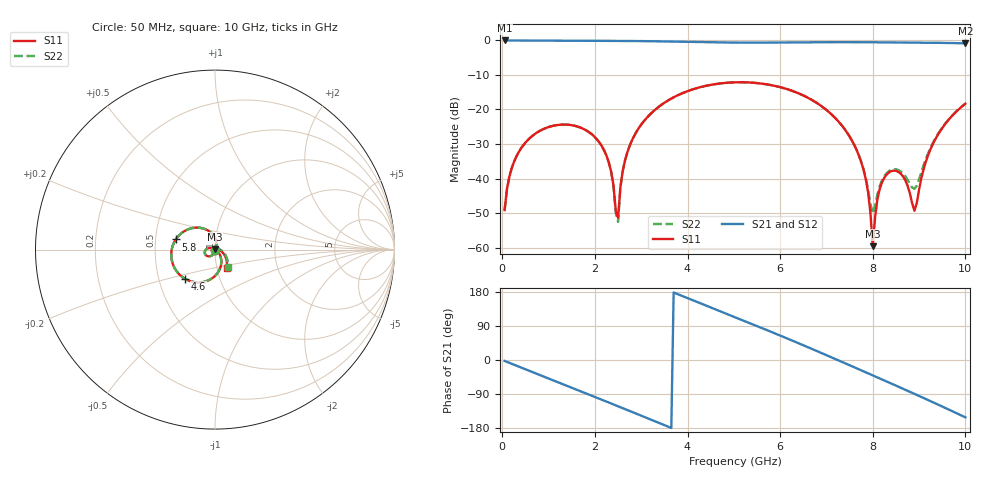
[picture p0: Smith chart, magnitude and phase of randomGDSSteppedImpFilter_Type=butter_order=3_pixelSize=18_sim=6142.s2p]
! freq	dB(S11)	phase(S11)	dB(S12)	phase(S12)
!  dB(S21)	phase(S21)	dB(S22)	phase(S22)
!S-par simulation data
#  GHz  S  DB  R 50
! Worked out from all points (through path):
!   200 points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, 50 MHz to 10 GHz, reference 50 ohm
!   highest |S21| = -0.01 dB at 50 MHz (marker M1); lowest = -0.8 dB at 10 GHz (marker M2)
!   group delay of S21, straight-line fit = 141 ps
!   lowest |S11| = -59.6 dB at 8 GHz (marker M3), VSWR 1.00, Z = 49.9 + j0.0782 ohm
!   |S11| at or under -10 dB: start of sweep to end of sweep
!   |S22| runs from -52.5 to -12.1 dB; largest |S21 - S12| = 0
!   S11 on the Smith chart (normalised r, x): 50 MHz: 1.00, -0.01; 4.6 GHz: 0.68, -0.23; 5.8 GHz: 0.64, +0.08; 10 GHz: 1.11, -0.23
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0.05  -49.12 -87.7  -0.01 -2.5  -0.01 -2.5  -49.12 -87.7
0.2  -37.15 -98.9  -0.02 -9.8  -0.02 -9.8  -37.15 -98.8
0.55  -28.86 -117.2  -0.04 -26.9  -0.04 -26.9  -28.86 -117.1
1.75  -25.60 -177.3  -0.11 -85.2  -0.11 -85.2  -25.60 -176.9
2.25  -33.38 155.3  -0.13 -109.7  -0.13 -109.7  -33.39 156.6
2.5  -51.41 6.6  -0.14 -122.1  -0.14 -122.1  -52.52 -3.6
2.6  -37.84 -29.8  -0.15 -127.0  -0.15 -127.0  -37.90 -32.4
2.75  -30.52 -41.6  -0.16 -134.5  -0.16 -134.5  -30.53 -42.8
3.4  -19.00 -76.3  -0.27 -166.9  -0.27 -166.9  -19.00 -76.7
4.6  -12.64 -135.7  -0.56 133.8  -0.56 133.8  -12.65 -135.9
5.05  -12.12 -157.6  -0.62 111.7  -0.62 111.7  -12.12 -157.8
5.8  -12.93 165.5  -0.62 74.6  -0.62 74.6  -12.93 165.4
6.7  -17.35 119.6  -0.52 28.5  -0.52 28.5  -17.34 119.7
7.7  -33.33 67.8  -0.51 -24.5  -0.51 -24.5  -33.25 72.1
7.9  -44.07 62.7  -0.52 -35.2  -0.52 -35.2  -43.25 79.4
8  -59.58 131.7  -0.53 -40.6  -0.53 -40.6  -50.19 136.6
8.1  -45.97 -147.3  -0.54 -46.0  -0.54 -46.0  -44.61 -170.2
8.35  -38.22 -156.0  -0.57 -59.4  -0.57 -59.4  -37.84 -168.3
8.65  -39.32 -177.9  -0.60 -75.7  -0.60 -75.7  -38.50 166.3
8.9  -49.34 97.9  -0.63 -89.4  -0.63 -89.4  -42.96 93.6
9.3  -29.95 -11.7  -0.68 -111.5  -0.68 -111.5  -29.65 -4.0
10  -18.33 -57.4  -0.84 -151.3  -0.84 -151.3  -18.29 -54.7
